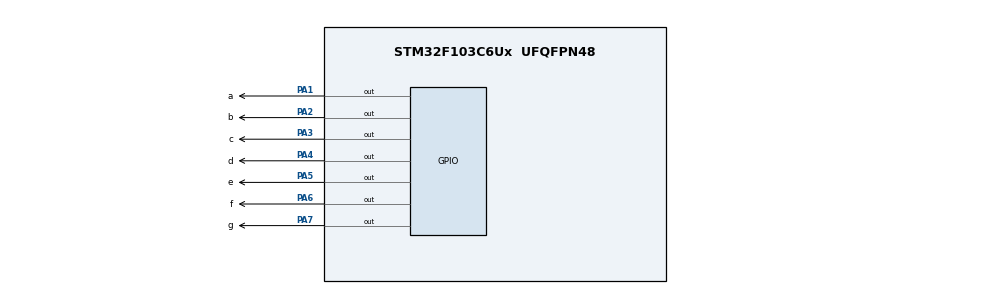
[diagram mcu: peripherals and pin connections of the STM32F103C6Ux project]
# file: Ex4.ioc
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Mcu.Family=STM32F1
Mcu.Name=STM32F103C6Ux
Mcu.Package=UFQFPN48
NVIC.PriorityGroup=NVIC_PRIORITYGROUP_4
PA1.GPIO_Label=a
PA1.Signal=GPIO_Output
PA2.GPIO_Label=b
PA2.Signal=GPIO_Output
PA3.GPIO_Label=c
PA3.Signal=GPIO_Output
PA4.GPIO_Label=d
PA4.Signal=GPIO_Output
PA5.GPIO_Label=e
PA5.Signal=GPIO_Output
PA6.GPIO_Label=f
PA6.Signal=GPIO_Output
PA7.GPIO_Label=g
PA7.Signal=GPIO_Output
ProjectManager.HeapSize=0x200
ProjectManager.StackSize=0x400
ProjectManager.TargetToolchain=STM32CubeIDE
RCC.APB1Freq_Value=8000000
RCC.APB2Freq_Value=8000000
VP_SYS_VS_ND.Mode=No_Debug
board=custom

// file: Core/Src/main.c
/* USER CODE BEGIN Header */
/**
  ******************************************************************************
  * @file           : main.c
  * @brief          : Main program body
  ******************************************************************************
  * @attention
  *
  * <h2><center>&copy; Copyright (c) 2024 STMicroelectronics.
  * All rights reserved.</center></h2>
  *
  * This software component is licensed by ST under BSD 3-Clause license,
  * the "License"; You may not use this file except in compliance with the
  * License. You may obtain a copy of the License at:
  *                        opensource.org/licenses/BSD-3-Clause
  *
  ******************************************************************************
  */
/* USER CODE END Header */
#include "main.h"

void SystemClock_Config(void);
static void MX_GPIO_Init(void);

int main(void)
{

  /* MCU Configuration--------------------------------------------------------*/

  /* Reset of all peripherals, Initializes the Flash interface and the Systick. */
  HAL_Init();

  /* Configure the system clock */
  SystemClock_Config();

  /* Initialize all configured peripherals */
  MX_GPIO_Init();

  /* Infinite loop */
  /* USER CODE BEGIN WHILE */
  int counter = 0;
  while (1)
  {
    /* USER CODE END WHILE */
	  if (counter >= 10) counter = 0;
	   	  displaySEG7(counter++);
	   	  HAL_Delay(1000);
  }
}

void SystemClock_Config(void)
{
  RCC_OscInitTypeDef RCC_OscInitStruct = {0};
  RCC_ClkInitTypeDef RCC_ClkInitStruct = {0};

  /** Initializes the RCC Oscillators according to the specified parameters
  * in the RCC_OscInitTypeDef structure.
  */
  RCC_OscInitStruct.OscillatorType = RCC_OSCILLATORTYPE_HSI;
  RCC_OscInitStruct.HSIState = RCC_HSI_ON;
  RCC_OscInitStruct.HSICalibrationValue = RCC_HSICALIBRATION_DEFAULT;
  RCC_OscInitStruct.PLL.PLLState = RCC_PLL_NONE;
  if (HAL_RCC_OscConfig(&RCC_OscInitStruct) != HAL_OK)
  {
    Error_Handler();
  }
  /** Initializes the CPU, AHB and APB buses clocks
  */
  RCC_ClkInitStruct.ClockType = RCC_CLOCKTYPE_HCLK|RCC_CLOCKTYPE_SYSCLK
                              |RCC_CLOCKTYPE_PCLK1|RCC_CLOCKTYPE_PCLK2;
  RCC_ClkInitStruct.SYSCLKSource = RCC_SYSCLKSOURCE_HSI;
  RCC_ClkInitStruct.AHBCLKDivider = RCC_SYSCLK_DIV1;
  RCC_ClkInitStruct.APB1CLKDivider = RCC_HCLK_DIV1;
  RCC_ClkInitStruct.APB2CLKDivider = RCC_HCLK_DIV1;

  if (HAL_RCC_ClockConfig(&RCC_ClkInitStruct, FLASH_LATENCY_0) != HAL_OK)
  {
    Error_Handler();
  }
}

static void MX_GPIO_Init(void)
{
  GPIO_InitTypeDef GPIO_InitStruct = {0};

  /* GPIO Ports Clock Enable */
  __HAL_RCC_GPIOA_CLK_ENABLE();

  /*Configure GPIO pin Output Level */
  HAL_GPIO_WritePin(GPIOA, a_Pin|b_Pin|c_Pin|d_Pin
                          |e_Pin|f_Pin|g_Pin, GPIO_PIN_RESET);

  /*Configure GPIO pins : a_Pin b_Pin c_Pin d_Pin
                           e_Pin f_Pin g_Pin */
  GPIO_InitStruct.Pin = a_Pin|b_Pin|c_Pin|d_Pin
                          |e_Pin|f_Pin|g_Pin;
  GPIO_InitStruct.Mode = GPIO_MODE_OUTPUT_PP;
  GPIO_InitStruct.Pull = GPIO_NOPULL;
  GPIO_InitStruct.Speed = GPIO_SPEED_FREQ_LOW;
  HAL_GPIO_Init(GPIOA, &GPIO_InitStruct);

}

/* USER CODE BEGIN 4 */
void displaySEG7(int num){
	if(num == 0){
		HAL_GPIO_WritePin(a_GPIO_Port, a_Pin, 0);
		HAL_GPIO_WritePin(b_GPIO_Port, b_Pin, 0);
		HAL_GPIO_WritePin(c_GPIO_Port, c_Pin, 0);
		HAL_GPIO_WritePin(d_GPIO_Port, d_Pin, 0);
		HAL_GPIO_WritePin(e_GPIO_Port, e_Pin, 0);
		HAL_GPIO_WritePin(f_GPIO_Port, f_Pin, 0);
		HAL_GPIO_WritePin(g_GPIO_Port, g_Pin, 1);
	}
	if(num == 1){
		HAL_GPIO_WritePin(a_GPIO_Port, a_Pin, 1);
		HAL_GPIO_WritePin(b_GPIO_Port, b_Pin, 0);
		HAL_GPIO_WritePin(c_GPIO_Port, c_Pin, 0);
		HAL_GPIO_WritePin(d_GPIO_Port, d_Pin, 1);
		HAL_GPIO_WritePin(e_GPIO_Port, e_Pin, 1);
		HAL_GPIO_WritePin(f_GPIO_Port, f_Pin, 1);
		HAL_GPIO_WritePin(g_GPIO_Port, g_Pin, 1);
	}
	if(num == 2){
		HAL_GPIO_WritePin(a_GPIO_Port, a_Pin, 0);
		HAL_GPIO_WritePin(b_GPIO_Port, b_Pin, 0);
		HAL_GPIO_WritePin(c_GPIO_Port, c_Pin, 1);
		HAL_GPIO_WritePin(d_GPIO_Port, d_Pin, 0);
		HAL_GPIO_WritePin(e_GPIO_Port, e_Pin, 0);
		HAL_GPIO_WritePin(f_GPIO_Port, f_Pin, 1);
		HAL_GPIO_WritePin(g_GPIO_Port, g_Pin, 0);
	}
	if(num == 3){
		HAL_GPIO_WritePin(a_GPIO_Port, a_Pin, 0);
		HAL_GPIO_WritePin(b_GPIO_Port, b_Pin, 0);
		HAL_GPIO_WritePin(c_GPIO_Port, c_Pin, 0);
		HAL_GPIO_WritePin(d_GPIO_Port, d_Pin, 0);
		HAL_GPIO_WritePin(e_GPIO_Port, e_Pin, 1);
		HAL_GPIO_WritePin(f_GPIO_Port, f_Pin, 1);
		HAL_GPIO_WritePin(g_GPIO_Port, g_Pin, 0);
	}
	if(num == 4){
		HAL_GPIO_WritePin(a_GPIO_Port, a_Pin, 1);
		HAL_GPIO_WritePin(b_GPIO_Port, b_Pin, 0);
		HAL_GPIO_WritePin(c_GPIO_Port, c_Pin, 0);
		HAL_GPIO_WritePin(d_GPIO_Port, d_Pin, 1);
		HAL_GPIO_WritePin(e_GPIO_Port, e_Pin, 1);
		HAL_GPIO_WritePin(f_GPIO_Port, f_Pin, 0);
		HAL_GPIO_WritePin(g_GPIO_Port, g_Pin, 0);
	}
	if(num == 5){
		HAL_GPIO_WritePin(a_GPIO_Port, a_Pin, 0);
		HAL_GPIO_WritePin(b_GPIO_Port, b_Pin, 1);
		HAL_GPIO_WritePin(c_GPIO_Port, c_Pin, 0);
		HAL_GPIO_WritePin(d_GPIO_Port, d_Pin, 0);
		HAL_GPIO_WritePin(e_GPIO_Port, e_Pin, 1);
		HAL_GPIO_WritePin(f_GPIO_Port, f_Pin, 0);
		HAL_GPIO_WritePin(g_GPIO_Port, g_Pin, 0);
	}
	if(num == 6){
		HAL_GPIO_WritePin(a_GPIO_Port, a_Pin, 0);
		HAL_GPIO_WritePin(b_GPIO_Port, b_Pin, 1);
		HAL_GPIO_WritePin(c_GPIO_Port, c_Pin, 0);
		HAL_GPIO_WritePin(d_GPIO_Port, d_Pin, 0);
		HAL_GPIO_WritePin(e_GPIO_Port, e_Pin, 0);
		HAL_GPIO_WritePin(f_GPIO_Port, f_Pin, 0);
		HAL_GPIO_WritePin(g_GPIO_Port, g_Pin, 0);
	}
	if(num == 7){
		HAL_GPIO_WritePin(a_GPIO_Port, a_Pin, 0);
		HAL_GPIO_WritePin(b_GPIO_Port, b_Pin, 0);
		HAL_GPIO_WritePin(c_GPIO_Port, c_Pin, 0);
		HAL_GPIO_WritePin(d_GPIO_Port, d_Pin, 1);
		HAL_GPIO_WritePin(e_GPIO_Port, e_Pin, 1);
		HAL_GPIO_WritePin(f_GPIO_Port, f_Pin, 1);
		HAL_GPIO_WritePin(g_GPIO_Port, g_Pin, 1);
	}
	if(num == 8){
		HAL_GPIO_WritePin(a_GPIO_Port, a_Pin, 0);
		HAL_GPIO_WritePin(b_GPIO_Port, b_Pin, 0);
		HAL_GPIO_WritePin(c_GPIO_Port, c_Pin, 0);
		HAL_GPIO_WritePin(d_GPIO_Port, d_Pin, 0);
		HAL_GPIO_WritePin(e_GPIO_Port, e_Pin, 0);
		HAL_GPIO_WritePin(f_GPIO_Port, f_Pin, 0);
		HAL_GPIO_WritePin(g_GPIO_Port, g_Pin, 0);
	}
	if(num == 9){
		HAL_GPIO_WritePin(a_GPIO_Port, a_Pin, 0);
		HAL_GPIO_WritePin(b_GPIO_Port, b_Pin, 0);
		HAL_GPIO_WritePin(c_GPIO_Port, c_Pin, 0);
		HAL_GPIO_WritePin(d_GPIO_Port, d_Pin, 0);
		HAL_GPIO_WritePin(e_GPIO_Port, e_Pin, 1);
		HAL_GPIO_WritePin(f_GPIO_Port, f_Pin, 0);
		HAL_GPIO_WritePin(g_GPIO_Port, g_Pin, 0);
	}
}

/* USER CODE END 4 */

void Error_Handler(void)
{
  __disable_irq();
  while (1)
  {
  }
}

/************************ (C) COPYRIGHT STMicroelectronics *****END OF FILE****/
